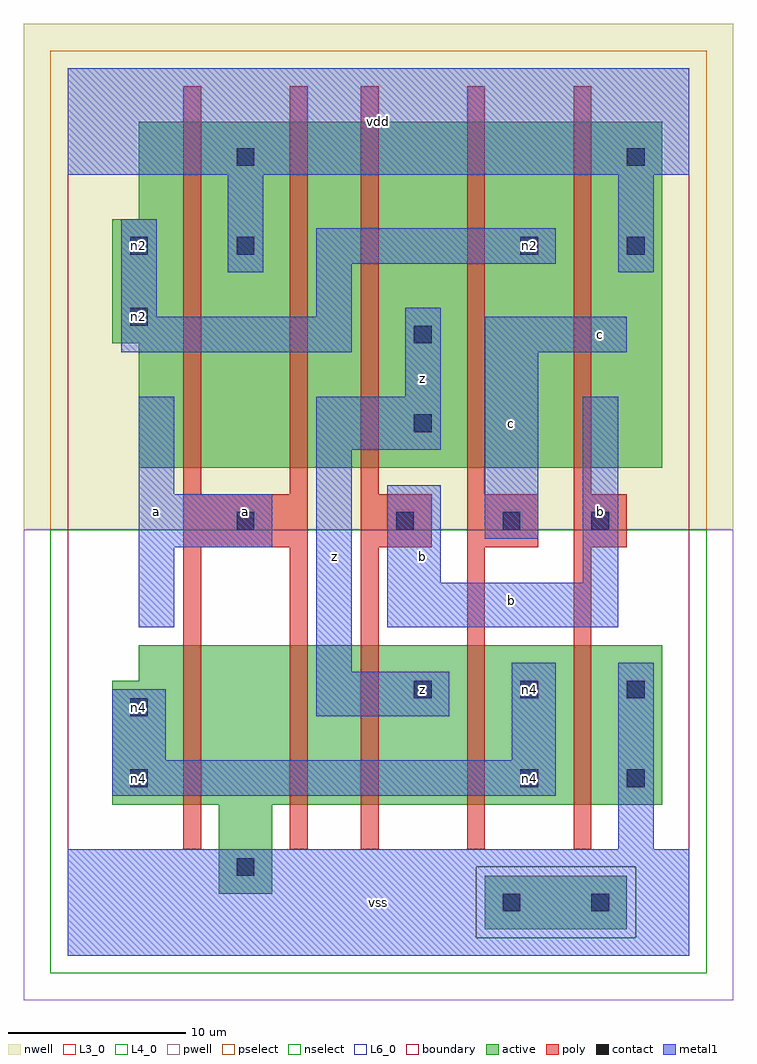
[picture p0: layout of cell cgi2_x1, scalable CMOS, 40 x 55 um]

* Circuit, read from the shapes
.subckt cgi2_x1 a b c n2 n4 vdd vss z
M1 vss a n4 vss nfet w=9u l=1u
M2 n1 a vss vss nfet w=9u l=1u
M3 z b n1 vss nfet w=9u l=1u
M4 n4 c z vss nfet w=9u l=1u
M5 vss b n4 vss nfet w=9u l=1u
M6 vdd a n2 n3 pfet w=19.5u l=1u
M7 n5 a vdd n3 pfet w=19.5u l=1u
M8 z b n5 n3 pfet w=19.5u l=1u
M9 n2 c z n3 pfet w=19.5u l=1u
M10 vdd b n2 n3 pfet w=19.5u l=1u
.ends

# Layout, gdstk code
import gdstk
lib = gdstk.Library(unit=1e-6, precision=1e-09)
def R(c, l, rs):  # rectangles x0, y0, x1, y1
    for r in rs: c.add(gdstk.rectangle(r[:2], r[2:], *l))
def A(c, l, x, y, w, h, nx, ny, dx, dy):  # array of equal rectangles
    R(c, l, [(x+i*dx, y+j*dy, x+i*dx+w, y+j*dy+h) for i in range(nx) for j in range(ny)])
L3_0 = (3, 0)
L4_0 = (4, 0)
L6_0 = (6, 0)
contact = (25, 0)
pwell = (41, 0)
nwell = (42, 0)
active = (43, 0)
pselect = (44, 0)
nselect = (45, 0)
poly = (46, 0)
metal1 = (49, 0)
boundary = (63, 0)

cgi2_x1 = lib.new_cell('cgi2_x1')
R(cgi2_x1, L3_0, [(8.5,3.5,11.5,8.5), (2.5,8.5,33.5,15.5), (4,15.5,33.5,17.5)])
R(cgi2_x1, L4_0, [(4,27.5,33.5,34.5), (2.5,34.5,33.5,41.5), (4,41.5,33.5,47)])
R(cgi2_x1, L6_0, [(23.5,1.5,31.5,4.5)])
A(cgi2_x1, contact, 19.5, 14.5, 1, 1, 3, 1, 6, 0)
R(cgi2_x1, contact, [(24.5,2.5,25.5,3.5), (29.5,2.5,30.5,3.5), (9.5,4.5,10.5,5.5), (3.5,9.5,4.5,10.5), (25.5,9.5,26.5,10.5), (31.5,9.5,32.5,10.5), (3.5,13.5,4.5,14.5), (9.5,24,10.5,25), (18.5,24,19.5,25), (24.5,24,25.5,25), (29.5,24,30.5,25), (19.5,29.5,20.5,30.5), (19.5,34.5,20.5,35.5), (3.5,35.5,4.5,36.5), (3.5,39.5,4.5,40.5), (9.5,39.5,10.5,40.5), (25.5,39.5,26.5,40.5), (31.5,39.5,32.5,40.5), (9.5,44.5,10.5,45.5), (31.5,44.5,32.5,45.5)])
R(cgi2_x1, pwell, [(-2.5,-2.5,37.5,24)])
R(cgi2_x1, nwell, [(-2.5,24,37.5,52.5)])
R(cgi2_x1, active, [(23.5,1.5,31.5,4.5), (8.5,3.5,11.5,8.5), (2.5,8.5,33.5,15.5), (4,15.5,33.5,17.5), (4,27.5,33.5,34.5), (2.5,34.5,33.5,41.5), (4,41.5,33.5,47)])
R(cgi2_x1, pselect, [(23,1,32,5), (-1,24,36,51)])
R(cgi2_x1, nselect, [(-1,-1,36,1), (-1,1,23,5), (32,1,36,5), (-1,5,36,24)])
A(cgi2_x1, poly, 16.5, 6, 1, 17, 3, 1, 6, 0)
A(cgi2_x1, poly, 16.5, 26, 1, 23, 3, 1, 6, 0)
R(cgi2_x1, poly, [(6.5,6,7.5,23), (12.5,6,13.5,23), (6.5,23,13.5,26), (16.5,23,20.5,26), (22.5,23,26.5,26), (28.5,23,31.5,26), (6.5,26,7.5,49), (12.5,26,13.5,49)])
R(cgi2_x1, metal1, [(0,0,35,6), (0,0,35,6), (31,6,33,16.5), (31,6,33,16.5), (2.5,9,27.5,11), (2.5,9,27.5,11), (2.5,11,5.5,15), (2.5,11,5.5,15), (25,11,27.5,16.5), (25,11,27.5,16.5), (14,13.5,21.5,16), (14,13.5,21.5,16), (14,16,16,28.5), (14,16,16,28.5), (4,18.5,6,23), (4,18.5,6,23), (18,18.5,31,21), (18,18.5,31,21), (18,21,21,26.5), (18,21,21,26.5), (29,21,31,31.5), (29,21,31,31.5), (4,23,11.5,26), (4,23,11.5,26), (23.5,23.5,26.5,34), (23.5,23.5,26.5,34), (4,26,6,31.5), (4,26,6,31.5), (14,28.5,21,31.5), (14,28.5,21,31.5), (19,31.5,21,36.5), (19,31.5,21,36.5), (3,34,16,36), (3,34,16,36), (23.5,34,31.5,36), (23.5,34,31.5,36), (3,36,5,41.5), (3,36,5,41.5), (14,36,16,39), (14,36,16,39), (9,38.5,11,44), (9,38.5,11,44), (31,38.5,33,44), (31,38.5,33,44), (14,39,27.5,41), (14,39,27.5,41), (0,44,35,50), (0,44,35,50)])
R(cgi2_x1, boundary, [(0,0,35,50)])
cgi2_x1.add(gdstk.Label('n4', (4,10), layer=49, texttype=0))
cgi2_x1.add(gdstk.Label('n4', (4,14), layer=49, texttype=0))
cgi2_x1.add(gdstk.Label('n2', (4,36), layer=49, texttype=0))
cgi2_x1.add(gdstk.Label('n2', (4,40), layer=49, texttype=0))
cgi2_x1.add(gdstk.Label('n4', (26,10), layer=49, texttype=0))
cgi2_x1.add(gdstk.Label('n4', (26,15), layer=49, texttype=0))
cgi2_x1.add(gdstk.Label('n2', (26,40), layer=49, texttype=0))
cgi2_x1.add(gdstk.Label('a', (5,25), layer=49, texttype=0))
cgi2_x1.add(gdstk.Label('z', (15,22.5), layer=49, texttype=0))
cgi2_x1.add(gdstk.Label('a', (10,25), layer=49, texttype=0))
cgi2_x1.add(gdstk.Label('vss', (17.5,3), layer=49, texttype=0))
cgi2_x1.add(gdstk.Label('b', (20,22.5), layer=49, texttype=0))
cgi2_x1.add(gdstk.Label('b', (25,20), layer=49, texttype=0))
cgi2_x1.add(gdstk.Label('z', (20,15), layer=49, texttype=0))
cgi2_x1.add(gdstk.Label('z', (20,32.5), layer=49, texttype=0))
cgi2_x1.add(gdstk.Label('c', (25,30), layer=49, texttype=0))
cgi2_x1.add(gdstk.Label('vdd', (17.5,47), layer=49, texttype=0))
cgi2_x1.add(gdstk.Label('b', (30,25), layer=49, texttype=0))
cgi2_x1.add(gdstk.Label('c', (30,35), layer=49, texttype=0))

lib.write_gds('cgi2_x1.gds')
